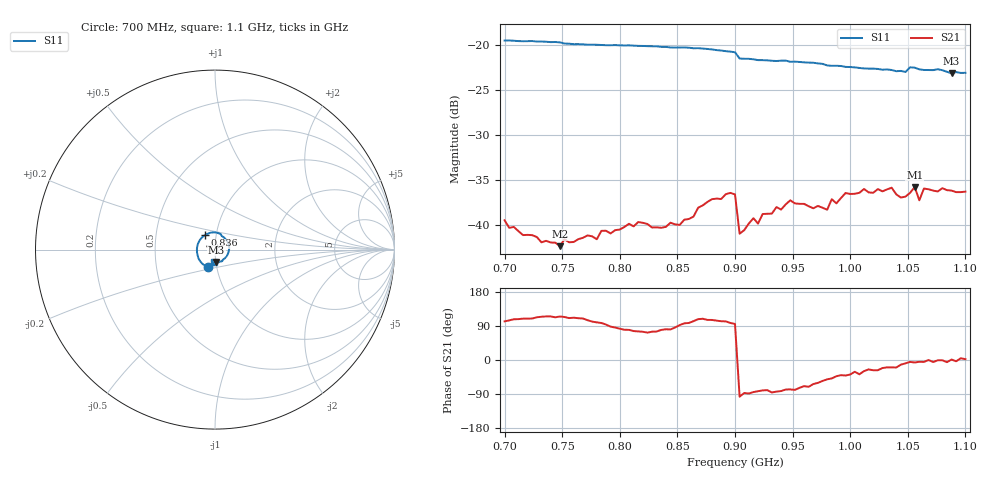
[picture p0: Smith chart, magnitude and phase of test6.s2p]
# HZ S RI R 50
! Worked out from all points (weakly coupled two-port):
!   101 points, 700 MHz to 1.1 GHz, reference 50 ohm
!   highest |S21| = -35.75 dB at 1.056 GHz (marker M1); lowest = -42.3 dB at 748 MHz (marker M2)
!   lowest |S11| = -23.1 dB at 1.088 GHz (marker M3), VSWR 1.15, Z = 50.3 - j7.02 ohm
!   |S11| at or under -10 dB: start of sweep to end of sweep
!   S12 and S22 are empty: the file has one direction only
!   S11 on the Smith chart (normalised r, x): 700 MHz: 0.91, -0.18; 836 MHz: 0.88, +0.14; 1.1 GHz: 0.98, -0.14
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7e8  -0.0385 -0.0991  -0.0022 0.0104  0 0  0 0
7.48e8  -0.0932 -0.046  -0.00322 0.00694  0 0  0 0
7.68e8  -0.1005 -0.0131  -0.00284 0.00802  0 0  0 0
8.16e8  -0.0789 0.0603  0.00262 0.0101  0 0  0 0
8.36e8  -0.0554 0.0809  0.00178 0.00951  0 0  0 0
9e8  0.0329 0.0854  -0.0013 0.0148  0 0  0 0
9.04e8  0.0374 0.0758  -0.00107 -0.00891  0 0  0 0
9.16e8  0.0513 0.0661  0.00102 -0.0109  0 0  0 0
9.2e8  0.0546 0.0622  0.00136 -0.0101  0 0  0 0
9.24e8  0.0586 0.0584  0.00197 -0.0114  0 0  0 0
9.48e8  0.0739 0.0333  0.00294 -0.0134  0 0  0 0
9.68e8  0.0793 0.0112  0.00555 -0.0111  0 0  0 0
9.8e8  0.0773 -0.00262  0.00768 -0.00947  0 0  0 0
9.84e8  0.0766 -0.0069  0.00923 -0.0105  0 0  0 0
9.96e8  0.0735 -0.019  0.0114 -0.0099  0 0  0 0
1.036e9  0.0527 -0.0504  0.0152 -0.00541  0 0  0 0
1.044e9  0.0469 -0.0548  0.0139 -0.00304  0 0  0 0
1.056e9  0.0376 -0.0651  0.0162 -0.00186  0 0  0 0
1.06e9  0.0325 -0.066  0.0137 -0.00113  0 0  0 0
1.064e9  0.0298 -0.0666  0.0159 -0.00141  0 0  0 0
1.088e9  0.00761 -0.0695  0.0156 0.00032  0 0  0 0
1.1e9  -0.00368 -0.0703  0.0154 0.000564  0 0  0 0
